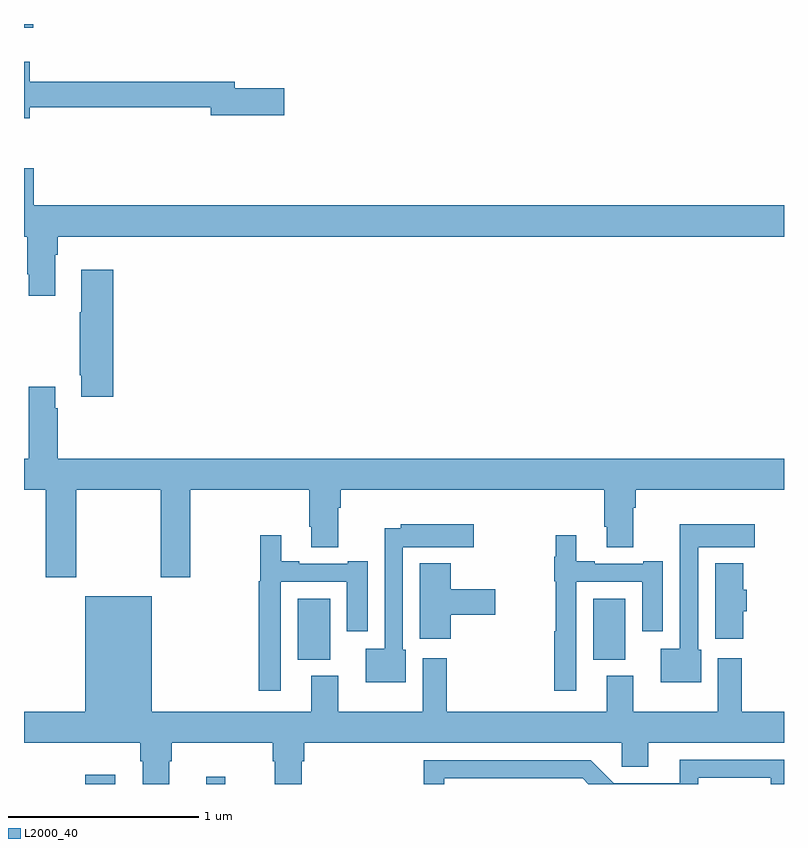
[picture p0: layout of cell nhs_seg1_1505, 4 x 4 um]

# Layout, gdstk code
import gdstk
lib = gdstk.Library(unit=1e-6, precision=1e-09)
def R(c, l, rs):  # rectangles x0, y0, x1, y1
    for r in rs: c.add(gdstk.rectangle(r[:2], r[2:], *l))
def P(c, l, *ps):  # polygons
    for p in ps: c.add(gdstk.Polygon(p, *l))
L2000_40 = (2000, 40)

nhs_seg1_1505 = lib.new_cell('nhs_seg1_1505')
R(nhs_seg1_1505, L2000_40, [(193.322,534.199,193.48,534.247), (193.958,534.199,194.06,534.238), (194.441,534.854,194.611,535.174), (195.995,534.854,196.165,535.174), (193,538.179,193.048,538.199)])
P(nhs_seg1_1505, L2000_40, [(193.03,537.76),(193.982,537.76),(193.982,537.718),(194.371,537.718),(194.371,537.86),(194.11,537.86),(194.11,537.896),(193.03,537.896),(193.03,538),(193,538),(193,537.704),(193.03,537.704)],
  [(193.165,536.984),(193.178,536.984),(193.178,537.08),(197,537.08),(197,537.244),(193.052,537.244),(193.052,537.439),(193,537.439),(193,537.08),(193.018,537.08),(193.018,536.881),(193.025,536.881),(193.025,536.769),(193.165,536.769)],
  [(193.469,536.905),(193.301,536.905),(193.301,536.681),(193.294,536.681),(193.294,536.35),(193.301,536.35),(193.301,536.238),(193.469,536.238)],
  [(193.275,535.748),(193.72,535.748),(193.72,535.287),(193.875,535.287),(193.875,535.748),(194.501,535.748),(194.501,535.552),(194.513,535.552),(194.513,535.444),(194.653,535.444),(194.653,535.652),(194.666,535.652),(194.666,535.748),(196.055,535.748),(196.055,535.552),(196.067,535.552),(196.067,535.444),(196.207,535.444),(196.207,535.652),(196.22,535.652),(196.22,535.748),(197,535.748),(197,535.912),(193.178,535.912),(193.178,536.177),(193.165,536.177),(193.165,536.29),(193.025,536.29),(193.025,535.912),(193,535.912),(193,535.748),(193.115,535.748),(193.115,535.287),(193.275,535.287)],
  [(196.564,534.906),(196.548,534.906),(196.548,535.445),(196.846,535.445),(196.846,535.567),(196.452,535.567),(196.452,534.91),(196.352,534.91),(196.352,534.734),(196.564,534.734)],
  [(195.01,534.906),(194.994,534.906),(194.994,535.446),(195.091,535.446),(195.091,535.445),(195.367,535.445),(195.367,535.567),(194.982,535.567),(194.982,535.544),(194.898,535.544),(194.898,534.91),(194.798,534.91),(194.798,534.734),(195.01,534.734)],
  [(194.352,535.263),(194.699,535.263),(194.699,535.002),(194.809,535.002),(194.809,535.372),(194.705,535.372),(194.705,535.359),(194.449,535.359),(194.449,535.372),(194.353,535.372),(194.353,535.507),(194.244,535.507),(194.244,535.266),(194.236,535.266),(194.236,534.69),(194.352,534.69)],
  [(195.906,535.263),(196.253,535.263),(196.253,535.002),(196.363,535.002),(196.363,535.372),(196.259,535.372),(196.259,535.359),(196.003,535.359),(196.003,535.372),(195.907,535.372),(195.907,535.507),(195.798,535.507),(195.798,535.394),(195.79,535.394),(195.79,535.266),(195.798,535.266),(195.798,535.002),(195.79,535.002),(195.79,534.69),(195.906,534.69)],
  [(196.786,535.107),(196.804,535.107),(196.804,535.221),(196.786,535.221),(196.786,535.36),(196.637,535.36),(196.637,534.963),(196.786,534.963)],
  [(195.245,535.091),(195.481,535.091),(195.481,535.225),(195.245,535.225),(195.245,535.36),(195.083,535.36),(195.083,534.963),(195.245,534.963)],
  [(193.765,534.32),(193.778,534.32),(193.778,534.416),(194.309,534.416),(194.309,534.32),(194.321,534.32),(194.321,534.199),(194.461,534.199),(194.461,534.32),(194.474,534.32),(194.474,534.416),(196.146,534.416),(196.146,534.289),(196.285,534.289),(196.285,534.416),(197,534.416),(197,534.58),(196.778,534.58),(196.778,534.862),(196.652,534.862),(196.652,534.58),(196.207,534.58),(196.207,534.769),(196.067,534.769),(196.067,534.58),(195.224,534.58),(195.224,534.862),(195.098,534.862),(195.098,534.58),(194.653,534.58),(194.653,534.769),(194.513,534.769),(194.513,534.58),(193.672,534.58),(193.672,535.186),(193.322,535.186),(193.322,534.58),(193,534.58),(193,534.416),(193.613,534.416),(193.613,534.32),(193.625,534.32),(193.625,534.199),(193.765,534.199)],
  [(195.213,534.228),(195.942,534.228),(195.971,534.199),(196.548,534.199),(196.548,534.231),(196.929,534.231),(196.929,534.199),(197,534.199),(197,534.327),(196.451,534.327),(196.451,534.204),(196.104,534.204),(195.984,534.324),(195.105,534.324),(195.105,534.199),(195.213,534.199)])

lib.write_gds('nhs_seg1_1505.gds')
